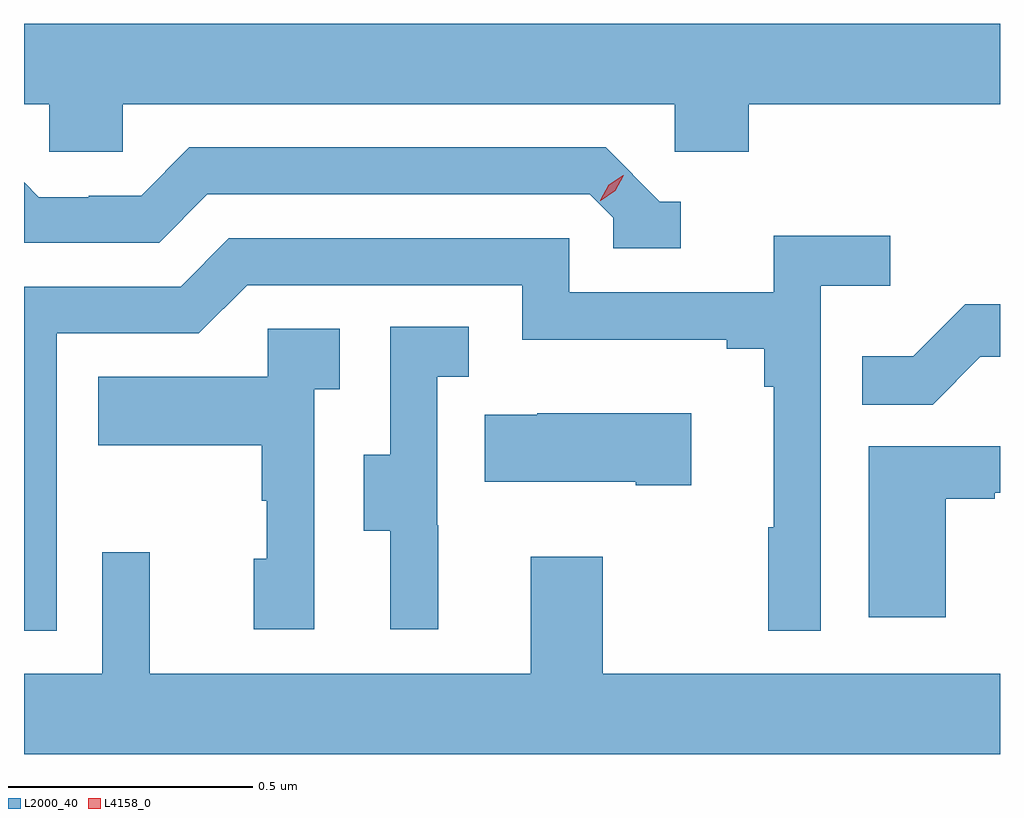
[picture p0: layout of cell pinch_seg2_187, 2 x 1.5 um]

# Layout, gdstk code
import gdstk
lib = gdstk.Library(unit=1e-6, precision=1e-09)
def P(c, l, *ps):  # polygons
    for p in ps: c.add(gdstk.Polygon(p, *l))
L2000_40 = (2000, 40)
L4158_0 = (4158, 0)

pinch_seg2_187 = lib.new_cell('pinch_seg2_187')
P(pinch_seg2_187, L2000_40, [(1115.973,631.652),(1117.104,631.652),(1117.104,631.554),(1117.256,631.554),(1117.256,631.652),(1117.771,631.652),(1117.771,631.816),(1115.771,631.816),(1115.771,631.652),(1115.823,631.652),(1115.823,631.554),(1115.973,631.554)],
  [(1117.117,631.452),(1117.074,631.452),(1116.963,631.563),(1116.11,631.563),(1116.011,631.464),(1115.904,631.464),(1115.904,631.461),(1115.801,631.461),(1115.771,631.492),(1115.771,631.368),(1116.048,631.368),(1116.147,631.467),(1116.93,631.467),(1116.978,631.419),(1116.978,631.356),(1117.117,631.356)],
  [(1115.838,631.182),(1116.129,631.182),(1116.228,631.281),(1116.792,631.281),(1116.792,631.169),(1117.211,631.169),(1117.211,631.15),(1117.288,631.15),(1117.288,631.073),(1117.307,631.073),(1117.307,630.785),(1117.296,630.785),(1117.296,630.573),(1117.404,630.573),(1117.404,631.28),(1117.546,631.28),(1117.546,631.382),(1117.307,631.382),(1117.307,631.266),(1116.888,631.266),(1116.888,631.377),(1116.191,631.377),(1116.092,631.278),(1115.771,631.278),(1115.771,630.573),(1115.838,630.573)],
  [(1117.731,631.134),(1117.771,631.134),(1117.771,631.242),(1117.7,631.242),(1117.593,631.135),(1117.489,631.135),(1117.489,631.036),(1117.633,631.036)],
  [(1116.62,630.789),(1116.618,630.789),(1116.618,631.093),(1116.682,631.093),(1116.682,631.196),(1116.522,631.196),(1116.522,630.933),(1116.467,630.933),(1116.467,630.778),(1116.521,630.778),(1116.521,630.576),(1116.62,630.576)],
  [(1116.366,631.067),(1116.418,631.067),(1116.418,631.191),(1116.27,631.191),(1116.27,631.093),(1115.923,631.093),(1115.923,630.953),(1116.258,630.953),(1116.258,630.839),(1116.268,630.839),(1116.268,630.72),(1116.242,630.72),(1116.242,630.576),(1116.366,630.576)],
  [(1117.138,631.018),(1116.823,631.018),(1116.823,631.015),(1116.715,631.015),(1116.715,630.878),(1117.025,630.878),(1117.025,630.871),(1117.138,630.871)],
  [(1117.66,630.843),(1117.76,630.843),(1117.76,630.855),(1117.771,630.855),(1117.771,630.951),(1117.502,630.951),(1117.502,630.6),(1117.66,630.6)],
  [(1117.771,630.484),(1116.957,630.484),(1116.957,630.724),(1116.809,630.724),(1116.809,630.484),(1116.029,630.484),(1116.029,630.733),(1115.931,630.733),(1115.931,630.484),(1115.771,630.484),(1115.771,630.32),(1117.771,630.32)])
P(pinch_seg2_187, L4158_0, [(1116.952,631.454),(1116.952,631.455),(1116.969,631.487),(1116.999,631.506),(1117,631.506),(1117,631.506),(1116.983,631.474),(1116.953,631.454)])

lib.write_gds('pinch_seg2_187.gds')
